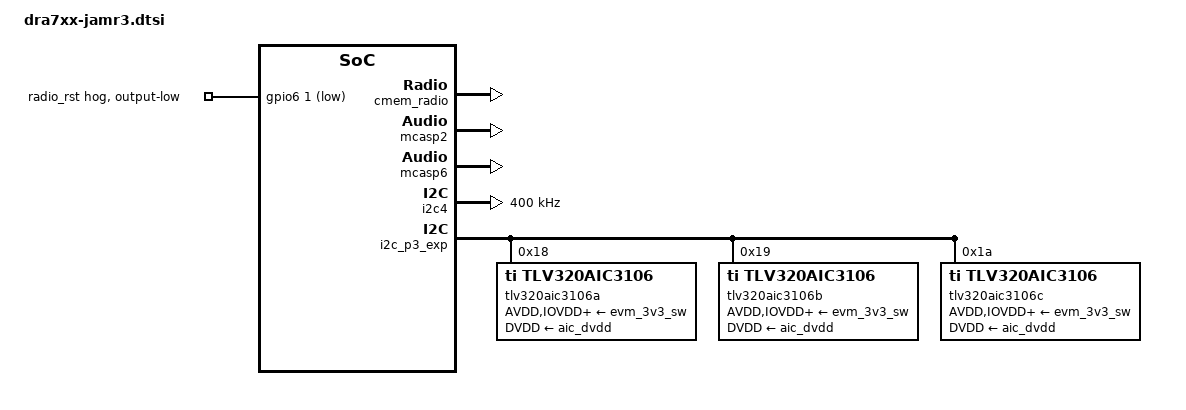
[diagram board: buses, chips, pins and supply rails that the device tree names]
/*
 * Copyright (C) 2016 Texas Instruments Incorporated - http://www.ti.com/
 *
 * This program is free software; you can redistribute it and/or modify
 * it under the terms of the GNU General Public License version 2 as
 * published by the Free Software Foundation.
 */

#include <dt-bindings/clk/ti-dra7-atl.h>

/ {
	jamr3_sound {
		compatible = "simple-audio-card";
		simple-audio-card,name = "DRA7xx-JAMR3";
		simple-audio-card,widgets =
			"Line", "Line Out",
			"Line", "Line In";
		simple-audio-card,routing =
			"Line Out",		"LLOUT",
			"Line Out",		"RLOUT",
			"LINE1L",		"Line In",
			"LINE1R",		"Line In";
		simple-audio-card,format = "dsp_b";
		simple-audio-card,bitclock-master = <&jamr3_sound_master>;
		simple-audio-card,frame-master = <&jamr3_sound_master>;
		simple-audio-card,bitclock-inversion;

		jamr3_sound_master: simple-audio-card,cpu {
			sound-dai = <&mcasp6>;
			system-clock-frequency = <11289600>;
		};

		simple-audio-card,codec {
			sound-dai = <&tlv320aic3106a>;
			clocks = <&atl_clkin1_ck>;
		};
	};

	gatemp {
		compatible = "hwspinlock-user";
		hwlocks = <&hwspinlock 0>,
			  <&hwspinlock 1>,
			  <&hwspinlock 2>,
			  <&hwspinlock 3>,
			  <&hwspinlock 4>,
			  <&hwspinlock 5>,
			  <&hwspinlock 6>,
			  <&hwspinlock 7>,
			  <&hwspinlock 8>,
			  <&hwspinlock 9>;
	};

	sr0 {
		compatible = "generic-uio";
		reg = <0x0 0xbfb00000 0x0 0x100000>;
	};
};

&reserved_mem {
	/* Required by cmem driver used by radio */
	cmem_radio: cmem@95400000 {
		reg = <0x0 0x95400000 0x0 0x400000>;
		no-map;
		status = "okay";
	};

	dsp1_sr0: dsp1_sr0@bfb00000 {
		reg = <0x0 0xbfb00000 0x0 0x100000>;
		no-map;
		status = "okay";
	};
};

&gpio6 {
	p20 {
		/* Radio reset GPIO */
		gpio-hog;
		gpios = <1 GPIO_ACTIVE_LOW>;
		output-low;
		line-name = "radio_rst";
	};
};

&atl {
	atl1 {
		bws = <DRA7_ATL_WS_MCASP2_FSX>;
		aws = <DRA7_ATL_WS_MCASP6_FSX>;
	};
};

&mcasp2 {
	assigned-clocks = <&mcasp2_ahclkx_mux>;
	assigned-clock-parents = <&atl_clkin2_ck>;

	status = "okay";

	op-mode = <0>;          /* MCASP_IIS_MODE */
	tdm-slots = <2>;
	/* 8 serializers */
	serial-dir = <  /* 0: INACTIVE, 1: TX, 2: RX */
		2 0 0 0 0 0 0 0
	>;
	shared-dai;
};

&mcasp6 {
	#sound-dai-cells = <0>;
	assigned-clocks = <&mcasp6_ahclkx_mux>;
	assigned-clock-parents = <&atl_clkin1_ck>;

	status = "okay";

	op-mode = <0>;          /* MCASP_IIS_MODE */
	tdm-slots = <2>;
	/* 4 serializer */
	serial-dir = <  /* 0: INACTIVE, 1: TX, 2: RX */
		1 2 0 0
	>;
	tx-num-evt = <32>;
	rx-num-evt = <32>;
	shared-dai;
};

&i2c4 {
	status = "okay";
	clock-frequency = <400000>;
};

&i2c_p3_exp {
	tlv320aic3106a: tlv320aic3106@18 {
		#sound-dai-cells = <0>;
		compatible = "ti,tlv320aic3106";
		reg = <0x18>;
		adc-settle-ms = <40>;
		ai3x-micbias-vg = <1>;		/* 2.0V */
		name-prefix = "J3A";
		status = "okay";

		/* Regulators */
		AVDD-supply = <&evm_3v3_sw>;
		IOVDD-supply = <&evm_3v3_sw>;
		DRVDD-supply = <&evm_3v3_sw>;
		DVDD-supply = <&aic_dvdd>;
	};

	tlv320aic3106b: tlv320aic3106@19 {
		#sound-dai-cells = <0>;
		compatible = "ti,tlv320aic3106";
		reg = <0x19>;
		adc-settle-ms = <40>;
		ai3x-micbias-vg = <1>;		/* 2.0V */
		name-prefix = "J3B";
		status = "okay";

		/* Regulators */
		AVDD-supply = <&evm_3v3_sw>;
		IOVDD-supply = <&evm_3v3_sw>;
		DRVDD-supply = <&evm_3v3_sw>;
		DVDD-supply = <&aic_dvdd>;
	};

	tlv320aic3106c: tlv320aic3106@1a {
		#sound-dai-cells = <0>;
		compatible = "ti,tlv320aic3106";
		reg = <0x1a>;
		adc-settle-ms = <40>;
		ai3x-micbias-vg = <1>;		/* 2.0V */
		name-prefix = "J3C";
		status = "okay";

		/* Regulators */
		AVDD-supply = <&evm_3v3_sw>;
		IOVDD-supply = <&evm_3v3_sw>;
		DRVDD-supply = <&evm_3v3_sw>;
		DVDD-supply = <&aic_dvdd>;
	};
};
